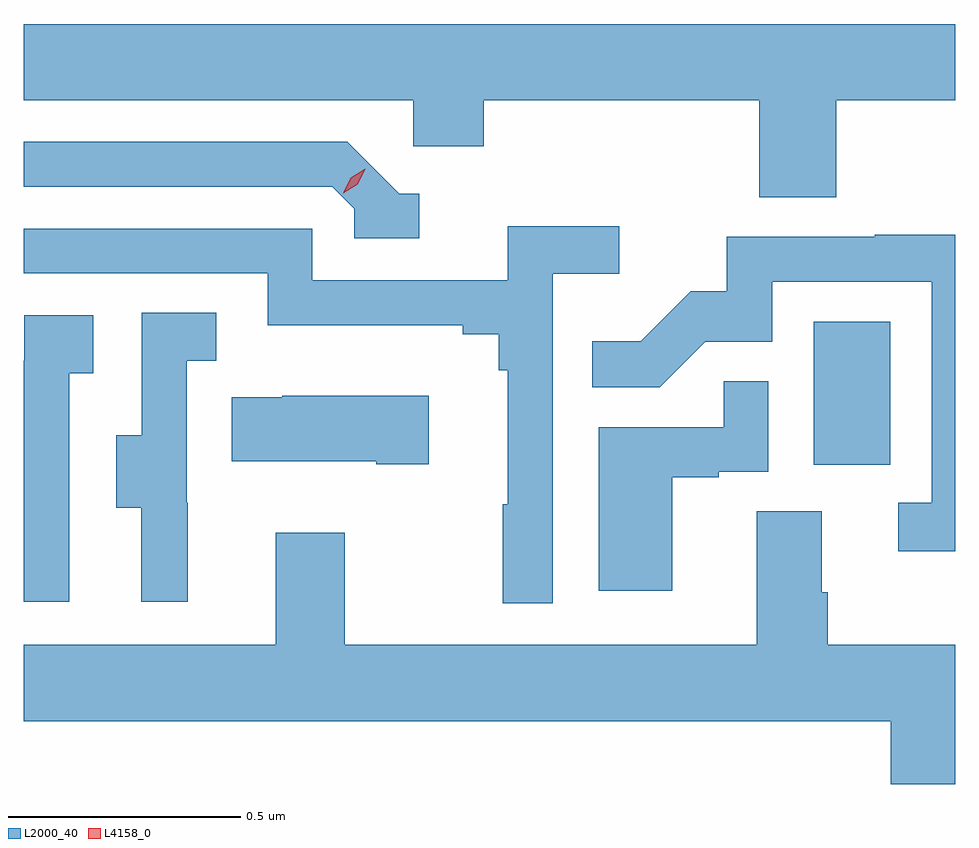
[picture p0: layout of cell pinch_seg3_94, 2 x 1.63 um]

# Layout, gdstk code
import gdstk
lib = gdstk.Library(unit=1e-6, precision=1e-09)
def R(c, l, rs):  # rectangles x0, y0, x1, y1
    for r in rs: c.add(gdstk.rectangle(r[:2], r[2:], *l))
def P(c, l, *ps):  # polygons
    for p in ps: c.add(gdstk.Polygon(p, *l))
L2000_40 = (2000, 40)
L4158_0 = (4158, 0)

pinch_seg3_94 = lib.new_cell('pinch_seg3_94')
R(pinch_seg3_94, L2000_40, [(1022.726,721.446,1022.89,721.753)])
P(pinch_seg3_94, L2000_40, [(1022.774,722.228),(1023.03,722.228),(1023.03,722.392),(1021.03,722.392),(1021.03,722.228),(1021.866,722.228),(1021.866,722.13),(1022.018,722.13),(1022.018,722.228),(1022.609,722.228),(1022.609,722.02),(1022.774,722.02)],
  [(1021.879,722.028),(1021.836,722.028),(1021.725,722.139),(1021.03,722.139),(1021.03,722.043),(1021.692,722.043),(1021.74,721.995),(1021.74,721.932),(1021.879,721.932)],
  [(1022.166,721.856),(1022.308,721.856),(1022.308,721.958),(1022.069,721.958),(1022.069,721.842),(1021.65,721.842),(1021.65,721.953),(1021.03,721.953),(1021.03,721.857),(1021.554,721.857),(1021.554,721.745),(1021.973,721.745),(1021.973,721.726),(1022.05,721.726),(1022.05,721.649),(1022.069,721.649),(1022.069,721.361),(1022.058,721.361),(1022.058,721.149),(1022.166,721.149)],
  [(1023.03,721.94),(1022.857,721.94),(1022.857,721.935),(1022.539,721.935),(1022.539,721.818),(1022.462,721.818),(1022.355,721.711),(1022.251,721.711),(1022.251,721.612),(1022.395,721.612),(1022.493,721.71),(1022.637,721.71),(1022.637,721.839),(1022.979,721.839),(1022.979,721.365),(1022.907,721.365),(1022.907,721.26),(1023.03,721.26)],
  [(1021.382,721.365),(1021.38,721.365),(1021.38,721.669),(1021.444,721.669),(1021.444,721.772),(1021.284,721.772),(1021.284,721.509),(1021.229,721.509),(1021.229,721.354),(1021.283,721.354),(1021.283,721.152),(1021.382,721.152)],
  [(1021.128,721.643),(1021.18,721.643),(1021.18,721.767),(1021.032,721.767),(1021.032,721.669),(1021.03,721.669),(1021.03,721.152),(1021.128,721.152)],
  [(1022.422,721.419),(1022.522,721.419),(1022.522,721.431),(1022.628,721.431),(1022.628,721.625),(1022.533,721.625),(1022.533,721.527),(1022.264,721.527),(1022.264,721.176),(1022.422,721.176)],
  [(1021.9,721.594),(1021.585,721.594),(1021.585,721.591),(1021.477,721.591),(1021.477,721.454),(1021.787,721.454),(1021.787,721.447),(1021.9,721.447)],
  [(1023.03,721.06),(1022.756,721.06),(1022.756,721.172),(1022.743,721.172),(1022.743,721.346),(1022.603,721.346),(1022.603,721.06),(1021.719,721.06),(1021.719,721.3),(1021.571,721.3),(1021.571,721.06),(1021.03,721.06),(1021.03,720.896),(1022.891,720.896),(1022.891,720.761),(1023.03,720.761)])
P(pinch_seg3_94, L4158_0, [(1021.716,722.029),(1021.716,722.029),(1021.732,722.062),(1021.763,722.081),(1021.763,722.081),(1021.763,722.081),(1021.747,722.048),(1021.716,722.029)])

lib.write_gds('pinch_seg3_94.gds')
